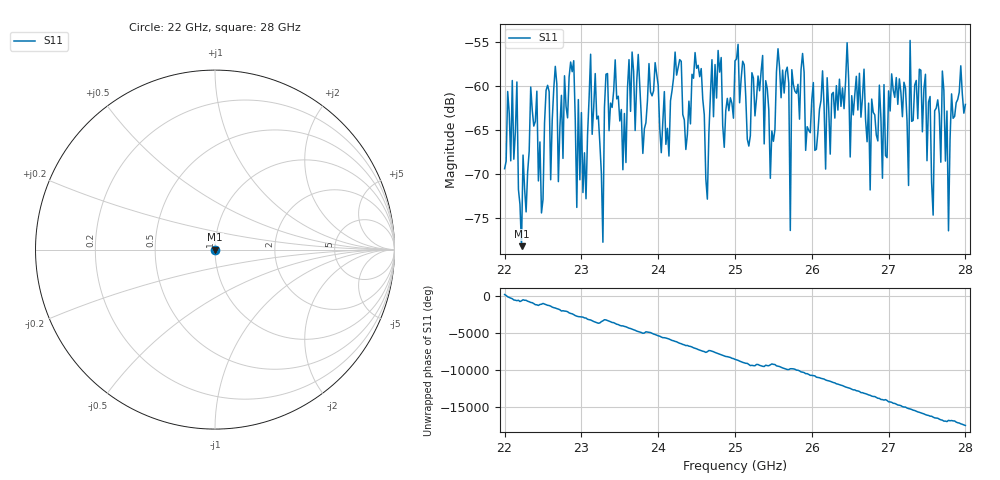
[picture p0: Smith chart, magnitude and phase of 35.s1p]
#  HZ  S  RI  R  50.00
! Rohde & Schwarz ZVA40 4Ports - Version 3.90 - 1145.1110k42 SN: 100403
! Date: 2023-10-04 11:32:54
! Measurement: S12
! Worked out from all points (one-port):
!   301 points, 22 GHz to 28 GHz, reference 50 ohm
!   lowest |S11| = -78.2 dB at 22.22 GHz (marker M1), VSWR 1.00, Z = 50 + j0.00863 ohm
!   |S11| at or under -10 dB: start of sweep to end of sweep
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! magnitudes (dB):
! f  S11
! 22 GHz  -69.4
! 22.16 GHz  -59.6
! 22.22 GHz  -78.2
! 22.34 GHz  -60.1
! 22.76 GHz  -68.2
! 22.9 GHz  -57.2
! 23.06 GHz  -72.8
! 23.12 GHz  -56.4
! 23.28 GHz  -77.8
! 23.32 GHz  -58.7
! 23.5 GHz  -64.0
! 24.26 GHz  -57.9
! 24.64 GHz  -72.9
! 24.7 GHz  -57.0
! 25 GHz  -57.2
! 25.46 GHz  -70.5
! 25.68 GHz  -57.9
! 25.72 GHz  -76.4
! 25.76 GHz  -59.9
! 26.46 GHz  -55.1
! 26.5 GHz  -68.1
! 27.26 GHz  -71.3
! 27.28 GHz  -54.9
! 27.58 GHz  -74.7
! 27.7 GHz  -58.3
! 27.78 GHz  -76.5
! 27.82 GHz  -60.9
! 28 GHz  -62.1
